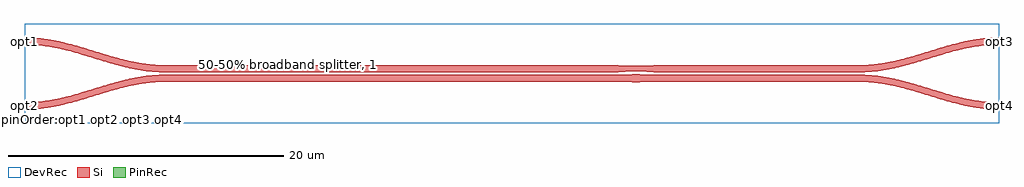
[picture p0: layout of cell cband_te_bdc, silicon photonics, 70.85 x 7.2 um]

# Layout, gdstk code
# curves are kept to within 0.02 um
import gdstk
lib = gdstk.Library(unit=1e-6, precision=1e-09)
def R(c, l, rs):  # rectangles x0, y0, x1, y1
    for r in rs: c.add(gdstk.rectangle(r[:2], r[2:], *l))
def P(c, l, *ps):  # polygons
    for p in ps: c.add(gdstk.Polygon(p, *l))
Si = (1, 0)
PinRec = (1, 10)
DevRec = (68, 0)

cband_te_bdc = lib.new_cell('cband_te_bdc')
R(cband_te_bdc, Si, [(-35.45,-2.6,-35.35,-2.1), (35.2,-2.6,35.3,-2.1), (8.65,-0.65,9.2,-0.05), (-25.35,-0.6,7.65,-0.1), (10.2,-0.6,25.2,-0.1), (-25.35,0.1,7.65,0.6), (10.2,0.1,25.2,0.6), (8.65,0.15,9.2,0.55), (-35.45,2.1,-35.35,2.6), (35.2,2.1,35.3,2.6)])
P(cband_te_bdc, Si, [(-25.35,0.1),(-26.412,0.157),(-27.547,0.332),(-28.852,0.645),(-31.688,1.491),(-32.858,1.794),(-34.041,2.01),(-34.742,2.08),(-35.35,2.1),(-35.35,2.6),(-34.288,2.543),(-33.153,2.368),(-31.848,2.055),(-29.012,1.209),(-27.842,0.906),(-26.659,0.69),(-25.958,0.62),(-25.35,0.6)],
  [(-35.35,-2.6),(-35.35,-2.1),(-34.742,-2.08),(-34.041,-2.01),(-32.858,-1.794),(-31.688,-1.491),(-28.852,-0.645),(-27.547,-0.332),(-26.412,-0.157),(-25.35,-0.1),(-25.35,-0.6),(-25.958,-0.62),(-26.659,-0.69),(-27.842,-0.906),(-29.012,-1.209),(-31.848,-2.055),(-33.153,-2.368),(-34.288,-2.543)],
  [(25.2,0.1),(25.2,0.6),(25.808,0.62),(26.509,0.69),(27.692,0.906),(28.862,1.209),(31.698,2.055),(33.003,2.368),(34.138,2.543),(35.2,2.6),(35.2,2.1),(34.592,2.08),(33.891,2.01),(32.708,1.794),(31.538,1.491),(28.702,0.645),(27.397,0.332),(26.262,0.157)],
  [(35.2,-2.6),(34.138,-2.543),(33.003,-2.368),(31.698,-2.055),(28.862,-1.209),(27.692,-0.906),(26.509,-0.69),(25.808,-0.62),(25.2,-0.6),(25.2,-0.1),(26.262,-0.157),(27.397,-0.332),(28.702,-0.645),(31.538,-1.491),(32.708,-1.794),(33.891,-2.01),(34.592,-2.08),(35.2,-2.1)],
  [(9.2,-0.65),(9.2,-0.05),(10.2,-0.1),(10.2,-0.6)],
  [(10.2,0.1),(9.2,0.15),(9.2,0.55),(10.2,0.6)],
  [(8.65,-0.65),(7.65,-0.6),(7.65,-0.1),(8.65,-0.05)],
  [(7.65,0.1),(7.65,0.6),(8.65,0.55),(8.65,0.15)])
R(cband_te_bdc, DevRec, [(-35.45,-3.6,35.3,3.6)])
cband_te_bdc.add(gdstk.FlexPath([(-35.4,-2.35),(-35.5,-2.35)], 0.5, ends="flush", simple_path=True, layer=1, datatype=10))  # PinRec
cband_te_bdc.add(gdstk.FlexPath([(-35.4,2.35),(-35.5,2.35)], 0.5, ends="flush", simple_path=True, layer=1, datatype=10))  # PinRec
cband_te_bdc.add(gdstk.FlexPath([(35.25,2.35),(35.35,2.35)], 0.5, ends="flush", simple_path=True, layer=1, datatype=10))  # PinRec
cband_te_bdc.add(gdstk.FlexPath([(35.25,-2.35),(35.35,-2.35)], 0.5, ends="flush", simple_path=True, layer=1, datatype=10))  # PinRec
cband_te_bdc.add(gdstk.Label('50-50% broadband splitter, 1550 nm, TE', (-16.299,0.623), layer=10, texttype=0))
cband_te_bdc.add(gdstk.Label('opt4', (35.3,-2.35), layer=1, texttype=10))
cband_te_bdc.add(gdstk.Label('opt3', (35.3,2.35), layer=1, texttype=10))
cband_te_bdc.add(gdstk.Label('opt1', (-35.45,2.35), layer=1, texttype=10))
cband_te_bdc.add(gdstk.Label('opt2', (-35.45,-2.35), layer=1, texttype=10))
cband_te_bdc.add(gdstk.Label('Spice_param:', (-35.23,-3.25), layer=68, texttype=0))
cband_te_bdc.add(gdstk.Label('Lumerical_INTERCONNECT_library=Design kits/EBeam_CMLC', (-35.23,-3.125), layer=68, texttype=0))
cband_te_bdc.add(gdstk.Label('Component=cband_te_bdc', (-35.23,-3), layer=68, texttype=0))
cband_te_bdc.add(gdstk.Label('cellName=cband_te_bdc', (-35.23,-2.875), layer=68, texttype=0))
cband_te_bdc.add(gdstk.Label('pinOrder:opt1 opt2 opt3 opt4', (-35.23,-3.375), layer=68, texttype=0))
cband_te_bdc.add(gdstk.Label('Ref: Zeqin Lu, et al., "Broadband silicon photonic directional coupler using asymmetric-waveguide based phase control," Optics Express, 2015', (-35.35,-3.5), layer=68, texttype=0))

lib.write_gds('cband_te_bdc.gds')
